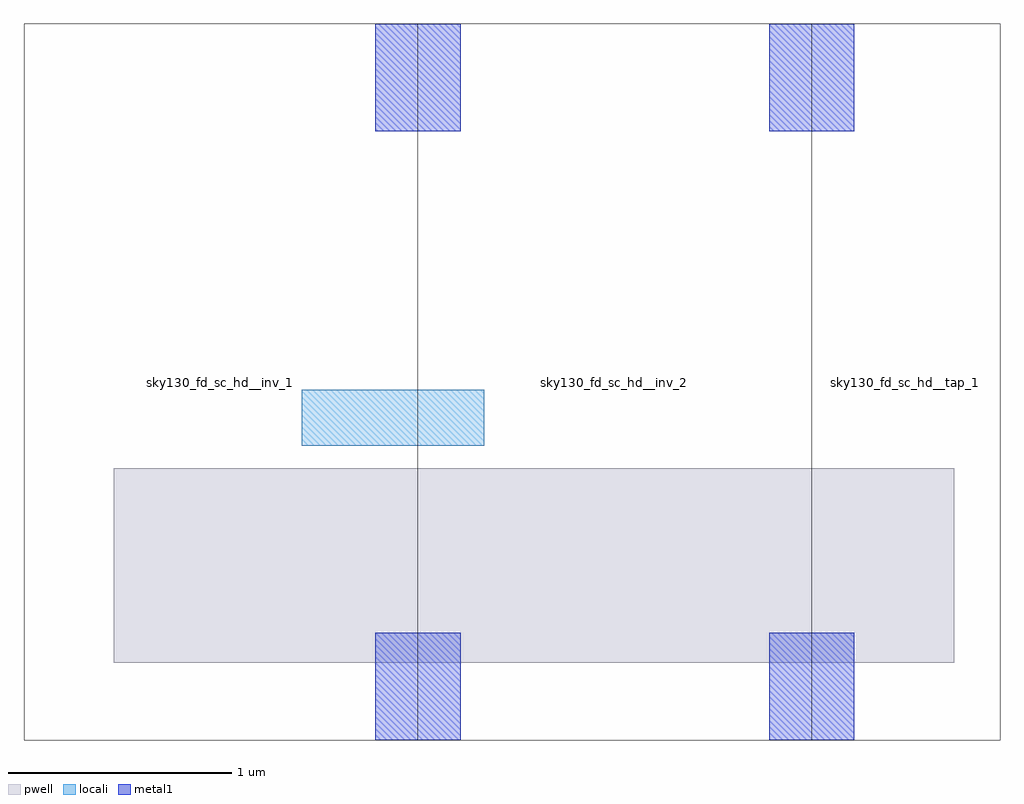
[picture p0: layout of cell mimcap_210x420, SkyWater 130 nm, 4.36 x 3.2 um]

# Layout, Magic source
magic
tech sky130A
magscale 1 2
<< pwell >>
rect 42 21 793 195
<< locali >>
rect 210 215 373 265
<< metal1 >>
rect 276 496 352 592
rect 628 496 704 592
rect 276 -48 352 48
rect 628 -48 704 48
use sky130_fd_sc_hd__inv_1  sky130_fd_sc_hd__inv_1_0 $PDKPATH/libs.ref/sky130_fd_sc_hd/mag
transform 1 0 0 0 1 0
box -38 -48 314 592
use sky130_fd_sc_hd__inv_2  sky130_fd_sc_hd__inv_2_0 $PDKPATH/libs.ref/sky130_fd_sc_hd/mag
transform 1 0 352 0 1 0
box -38 -48 314 592
use sky130_fd_sc_hd__tap_1  sky130_fd_sc_hd__tap_1_0 $PDKPATH/libs.ref/sky130_fd_sc_hd/mag
transform 1 0 704 0 1 0
box -38 -48 130 592
<< end >>
